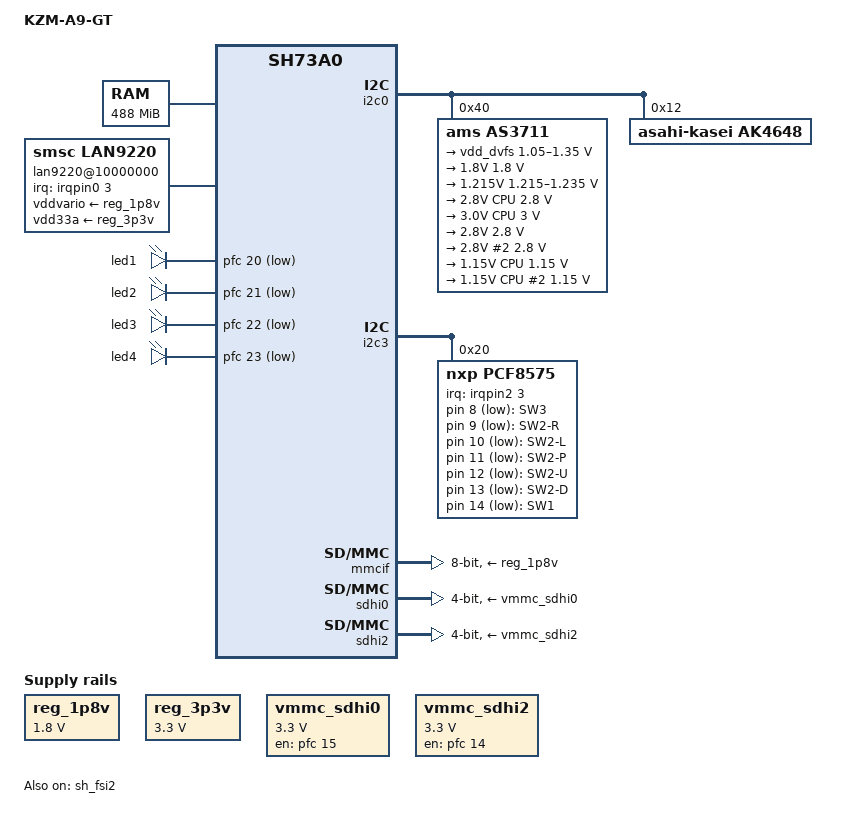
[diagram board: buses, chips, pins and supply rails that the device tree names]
/*
 * Device Tree Source for the KZM-A9-GT board
 *
 * Copyright (C) 2012 Horms Solutions Ltd.
 *
 * Based on sh73a0-kzm9g.dts
 * Copyright (C) 2012 Renesas Solutions Corp.
 *
 * This file is licensed under the terms of the GNU General Public License
 * version 2.  This program is licensed "as is" without any warranty of any
 * kind, whether express or implied.
 */

/dts-v1/;
#include "sh73a0.dtsi"
#include <dt-bindings/gpio/gpio.h>
#include <dt-bindings/input/input.h>
#include <dt-bindings/interrupt-controller/irq.h>

/ {
	model = "KZM-A9-GT";
	compatible = "renesas,kzm9g-reference", "renesas,sh73a0";

	cpus {
		cpu@0 {
			cpu0-supply = <&vdd_dvfs>;
			operating-points = <
				/* kHz  uV */
				1196000 1315000
				 598000 1175000
				 398667 1065000
			>;
			voltage-tolerance = <1>; /* 1% */
		};
	};

	chosen {
		bootargs = "console=tty0 console=ttySC4,115200 root=/dev/nfs ip=dhcp ignore_loglevel earlyprintk=sh-sci.4,115200 rw";
	};

	memory {
		device_type = "memory";
		reg = <0x41000000 0x1e800000>;
	};

	reg_1p8v: regulator@0 {
		compatible = "regulator-fixed";
		regulator-name = "fixed-1.8V";
		regulator-min-microvolt = <1800000>;
		regulator-max-microvolt = <1800000>;
		regulator-always-on;
		regulator-boot-on;
	};

	reg_3p3v: regulator@1 {
		compatible = "regulator-fixed";
		regulator-name = "fixed-3.3V";
		regulator-min-microvolt = <3300000>;
		regulator-max-microvolt = <3300000>;
		regulator-always-on;
		regulator-boot-on;
	};

	vmmc_sdhi0: regulator@2 {
	        compatible = "regulator-fixed";
		regulator-name = "SDHI0 Vcc";
		regulator-min-microvolt = <3300000>;
		regulator-max-microvolt = <3300000>;
		gpio = <&pfc 15 GPIO_ACTIVE_HIGH>;
		enable-active-high;
	};

	vmmc_sdhi2: regulator@3 {
	        compatible = "regulator-fixed";
		regulator-name = "SDHI2 Vcc";
		regulator-min-microvolt = <3300000>;
		regulator-max-microvolt = <3300000>;
		gpio = <&pfc 14 GPIO_ACTIVE_HIGH>;
		enable-active-high;
	};

	lan9220@10000000 {
		compatible = "smsc,lan9220", "smsc,lan9115";
		reg = <0x10000000 0x100>;
		phy-mode = "mii";
		interrupt-parent = <&irqpin0>;
		interrupts = <3 IRQ_TYPE_EDGE_FALLING>;
		reg-io-width = <4>;
		smsc,irq-push-pull;
		smsc,save-mac-address;
		vddvario-supply = <&reg_1p8v>;
		vdd33a-supply = <&reg_3p3v>;
	};

	leds {
		compatible = "gpio-leds";
		led1 {
			gpios = <&pfc 20 GPIO_ACTIVE_LOW>;
		};
		led2 {
			gpios = <&pfc 21 GPIO_ACTIVE_LOW>;
		};
		led3 {
			gpios = <&pfc 22 GPIO_ACTIVE_LOW>;
		};
		led4 {
			gpios = <&pfc 23 GPIO_ACTIVE_LOW>;
		};
	};

	gpio-keys {
		compatible = "gpio-keys";

		back-key {
			gpios = <&pcf8575 8 GPIO_ACTIVE_LOW>;
			linux,code = <KEY_BACK>;
			label = "SW3";
		};

		right-key {
			gpios = <&pcf8575 9 GPIO_ACTIVE_LOW>;
			linux,code = <KEY_RIGHT>;
			label = "SW2-R";
		};

		left-key {
			gpios = <&pcf8575 10 GPIO_ACTIVE_LOW>;
			linux,code = <KEY_LEFT>;
			label = "SW2-L";
		};

		enter-key {
			gpios = <&pcf8575 11 GPIO_ACTIVE_LOW>;
			linux,code = <KEY_ENTER>;
			label = "SW2-P";
		};

		up-key {
			gpios = <&pcf8575 12 GPIO_ACTIVE_LOW>;
			linux,code = <KEY_UP>;
			label = "SW2-U";
		};

		down-key {
			gpios = <&pcf8575 13 GPIO_ACTIVE_LOW>;
			linux,code = <KEY_DOWN>;
			label = "SW2-D";
		};

		home-key {
			gpios = <&pcf8575 14 GPIO_ACTIVE_LOW>;
			linux,code = <KEY_HOME>;
			label = "SW1";
		};
	};

	sound {
		compatible = "simple-audio-card";
		simple-audio-card,format = "left_j";
		simple-audio-card,cpu {
			sound-dai = <&sh_fsi2 0>;
		};
		simple-audio-card,codec {
			sound-dai = <&ak4648>;
			bitclock-master;
			frame-master;
			system-clock-frequency = <11289600>;
		};
	};
};

&i2c0 {
	status = "okay";
	as3711@40 {
		compatible = "ams,as3711";
		reg = <0x40>;

		regulators {
			vdd_dvfs: sd1 {
				regulator-name = "1.315V CPU";
				regulator-min-microvolt = <1050000>;
				regulator-max-microvolt = <1350000>;
				regulator-always-on;
				regulator-boot-on;
			};
			sd2 {
				regulator-name = "1.8V";
				regulator-min-microvolt = <1800000>;
				regulator-max-microvolt = <1800000>;
				regulator-always-on;
				regulator-boot-on;
			};
			sd4 {
				regulator-name = "1.215V";
				regulator-min-microvolt = <1215000>;
				regulator-max-microvolt = <1235000>;
				regulator-always-on;
				regulator-boot-on;
			};
			ldo2 {
				regulator-name = "2.8V CPU";
				regulator-min-microvolt = <2800000>;
				regulator-max-microvolt = <2800000>;
				regulator-always-on;
				regulator-boot-on;
			};
			ldo3 {
				regulator-name = "3.0V CPU";
				regulator-min-microvolt = <3000000>;
				regulator-max-microvolt = <3000000>;
				regulator-always-on;
				regulator-boot-on;
			};
			ldo4 {
				regulator-name = "2.8V";
				regulator-min-microvolt = <2800000>;
				regulator-max-microvolt = <2800000>;
				regulator-always-on;
				regulator-boot-on;
			};
			ldo5 {
				regulator-name = "2.8V #2";
				regulator-min-microvolt = <2800000>;
				regulator-max-microvolt = <2800000>;
				regulator-always-on;
				regulator-boot-on;
			};
			ldo7 {
				regulator-name = "1.15V CPU";
				regulator-min-microvolt = <1150000>;
				regulator-max-microvolt = <1150000>;
				regulator-always-on;
				regulator-boot-on;
			};
			ldo8 {
				regulator-name = "1.15V CPU #2";
				regulator-min-microvolt = <1150000>;
				regulator-max-microvolt = <1150000>;
				regulator-always-on;
				regulator-boot-on;
			};
		};
	};

	ak4648: ak4648@0x12 {
		#sound-dai-cells = <0>;
		compatible = "asahi-kasei,ak4648";
		reg = <0x12>;
	};
};

&i2c3 {
	pinctrl-0 = <&i2c3_pins>;
	pinctrl-names = "default";
	status = "okay";

	pcf8575: gpio@20 {
		compatible = "nxp,pcf8575";
		reg = <0x20>;
		interrupt-parent = <&irqpin2>;
		interrupts = <3 IRQ_TYPE_EDGE_FALLING>;
		gpio-controller;
		#gpio-cells = <2>;
		interrupt-controller;
		#interrupt-cells = <2>;
	};
};

&mmcif {
	pinctrl-0 = <&mmcif_pins>;
	pinctrl-names = "default";

	bus-width = <8>;
	vmmc-supply = <&reg_1p8v>;
	status = "okay";
};

&pfc {
	pinctrl-0 = <&scifa4_pins>;
	pinctrl-names = "default";

	i2c3_pins: i2c3 {
		renesas,groups = "i2c3_1";
		renesas,function = "i2c3";
	};

	mmcif_pins: mmc {
		mux {
			renesas,groups = "mmc0_data8_0", "mmc0_ctrl_0";
			renesas,function = "mmc0";
		};
		cfg {
			renesas,groups = "mmc0_data8_0";
			renesas,pins = "PORT279";
			bias-pull-up;
		};
	};

	scifa4_pins: serial4 {
		renesas,groups = "scifa4_data", "scifa4_ctrl";
		renesas,function = "scifa4";
	};

	sdhi0_pins: sd0 {
		renesas,groups = "sdhi0_data4", "sdhi0_ctrl", "sdhi0_cd", "sdhi0_wp";
		renesas,function = "sdhi0";
	};

	sdhi2_pins: sd2 {
		renesas,groups = "sdhi2_data4", "sdhi2_ctrl";
		renesas,function = "sdhi2";
	};

	fsia_pins: sounda {
		renesas,groups = "fsia_mclk_in", "fsia_sclk_in",
				 "fsia_data_in", "fsia_data_out";
		renesas,function = "fsia";
	};
};

&sdhi0 {
	pinctrl-0 = <&sdhi0_pins>;
	pinctrl-names = "default";

	vmmc-supply = <&vmmc_sdhi0>;
	bus-width = <4>;
	status = "okay";
};

&sdhi2 {
	pinctrl-0 = <&sdhi2_pins>;
	pinctrl-names = "default";

	vmmc-supply = <&vmmc_sdhi2>;
	bus-width = <4>;
	broken-cd;
	status = "okay";
};

&sh_fsi2 {
	pinctrl-0 = <&fsia_pins>;
	pinctrl-names = "default";

	status = "okay";
};
